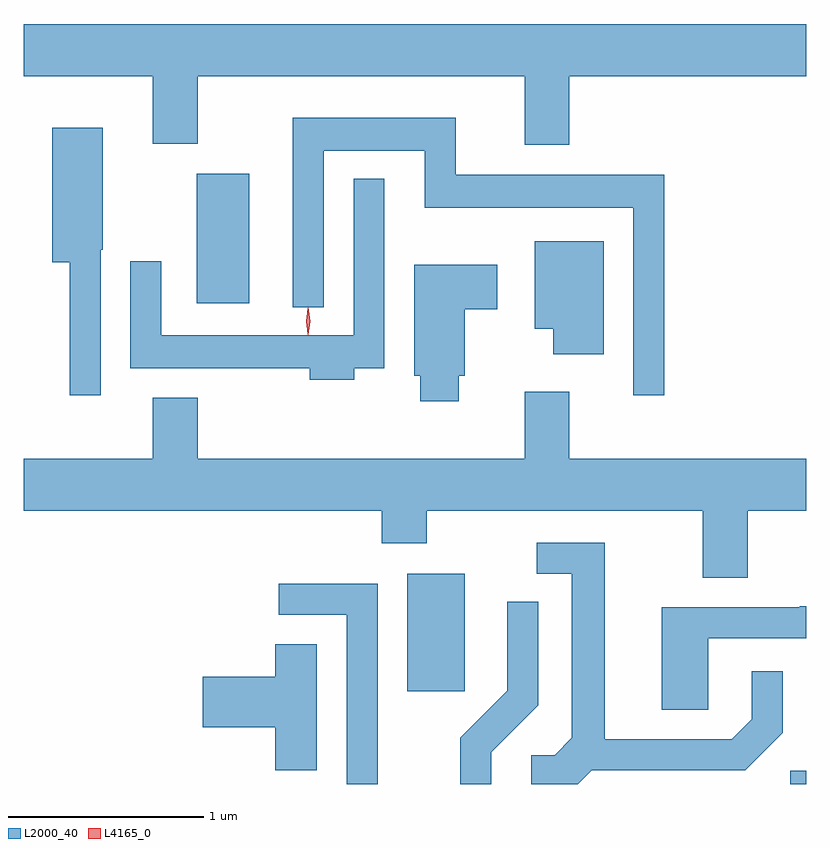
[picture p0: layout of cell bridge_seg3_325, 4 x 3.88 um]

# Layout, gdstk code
import gdstk
lib = gdstk.Library(unit=1e-6, precision=1e-09)
def R(c, l, rs):  # rectangles x0, y0, x1, y1
    for r in rs: c.add(gdstk.rectangle(r[:2], r[2:], *l))
def P(c, l, *ps):  # polygons
    for p in ps: c.add(gdstk.Polygon(p, *l))
L2000_40 = (2000, 40)
L4165_0 = (4165, 0)

bridge_seg3_325 = lib.new_cell('bridge_seg3_325')
R(bridge_seg3_325, L2000_40, [(530.208,1160.141,530.29,1160.209), (528.251,1160.616,528.544,1161.214), (527.176,1162.596,527.444,1163.259)])
P(bridge_seg3_325, L2000_40, [(529.079,1163.756),(530.29,1163.756),(530.29,1164.024),(526.29,1164.024),(526.29,1163.756),(526.951,1163.756),(526.951,1163.411),(527.179,1163.411),(527.179,1163.756),(528.851,1163.756),(528.851,1163.406),(529.079,1163.406)],
  [(529.564,1163.254),(528.499,1163.254),(528.499,1163.544),(527.666,1163.544),(527.666,1162.578),(527.824,1162.578),(527.824,1163.376),(528.341,1163.376),(528.341,1163.086),(529.406,1163.086),(529.406,1162.128),(529.564,1162.128)],
  [(526.684,1162.87),(526.694,1162.87),(526.694,1163.494),(526.436,1163.494),(526.436,1162.806),(526.526,1162.806),(526.526,1162.128),(526.684,1162.128)],
  [(527.979,1162.266),(528.134,1162.266),(528.134,1163.233),(527.976,1163.233),(527.976,1162.434),(526.994,1162.434),(526.994,1162.813),(526.836,1162.813),(526.836,1162.266),(527.751,1162.266),(527.751,1162.206),(527.979,1162.206)],
  [(529.254,1162.914),(528.901,1162.914),(528.901,1162.466),(528.996,1162.466),(528.996,1162.336),(529.254,1162.336)],
  [(528.514,1162.226),(528.544,1162.226),(528.544,1162.566),(528.709,1162.566),(528.709,1162.794),(528.286,1162.794),(528.286,1162.226),(528.316,1162.226),(528.316,1162.096),(528.514,1162.096)],
  [(529.989,1161.536),(530.29,1161.536),(530.29,1161.804),(529.079,1161.804),(529.079,1162.144),(528.851,1162.144),(528.851,1161.804),(527.179,1161.804),(527.179,1162.114),(526.951,1162.114),(526.951,1161.804),(526.29,1161.804),(526.29,1161.536),(528.121,1161.536),(528.121,1161.371),(528.349,1161.371),(528.349,1161.536),(529.761,1161.536),(529.761,1161.196),(529.989,1161.196)],
  [(529.192,1160.211),(529.977,1160.211),(530.169,1160.404),(530.169,1160.718),(530.011,1160.718),(530.011,1160.472),(529.909,1160.369),(529.259,1160.369),(529.259,1161.374),(528.913,1161.374),(528.913,1161.216),(529.091,1161.216),(529.091,1160.377),(529.004,1160.289),(528.883,1160.289),(528.883,1160.141),(529.122,1160.141)],
  [(528.099,1161.164),(527.593,1161.164),(527.593,1161.006),(527.941,1161.006),(527.941,1160.141),(528.099,1160.141)],
  [(528.679,1160.304),(528.919,1160.544),(528.919,1161.073),(528.761,1161.073),(528.761,1160.617),(528.521,1160.377),(528.521,1160.141),(528.679,1160.141)],
  [(529.789,1160.886),(530.29,1160.886),(530.29,1161.049),(530.255,1161.049),(530.255,1161.044),(529.551,1161.044),(529.551,1160.521),(529.789,1160.521)],
  [(527.789,1160.854),(527.576,1160.854),(527.576,1160.689),(527.206,1160.689),(527.206,1160.431),(527.576,1160.431),(527.576,1160.211),(527.789,1160.211)])
P(bridge_seg3_325, L4165_0, [(527.744,1162.439),(527.743,1162.44),(527.734,1162.506),(527.743,1162.572),(527.744,1162.573),(527.744,1162.572),(527.754,1162.506),(527.744,1162.44)],
  [(527.744,1162.437),(527.735,1162.506),(527.744,1162.576),(527.745,1162.576),(527.745,1162.576),(527.755,1162.506),(527.745,1162.437),(527.745,1162.437)])

lib.write_gds('bridge_seg3_325.gds')
